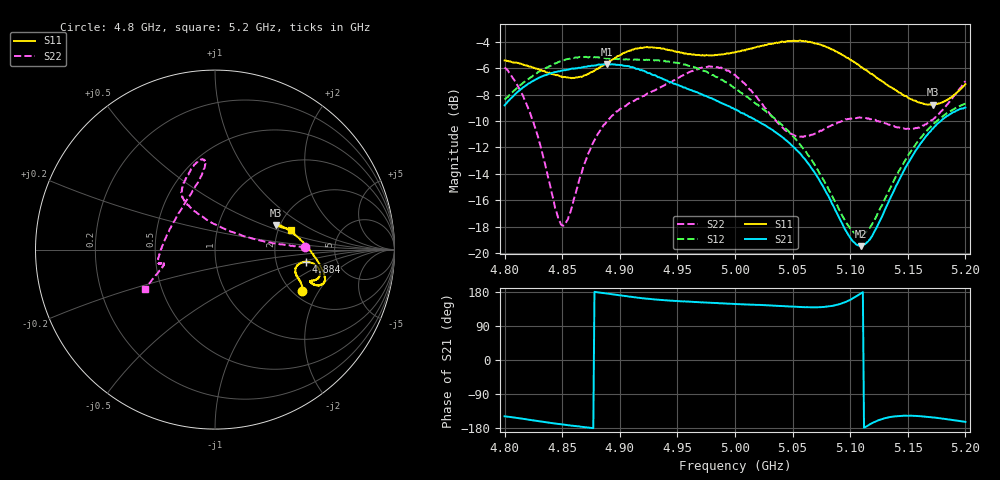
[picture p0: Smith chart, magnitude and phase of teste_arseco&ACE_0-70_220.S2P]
! Network Analyzer HP8722D
! Hewlett-Packard
! Data name: Linha & Wilkinson
! Saver's name: Rodrigo Anjos
! Comments: Teste da utilização de aquisição
! continua pelo VNA HP8722D
! Time and date: 8/5/2025 14:35
!  Frequency  S11  S21  S12  S22
# HZ  S  MA R 50
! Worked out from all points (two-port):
!   401 points, 4.8 GHz to 5.2 GHz, reference 50 ohm
!   highest |S21| = -5.69 dB at 4.889 GHz (marker M1); lowest = -19.5 dB at 5.109 GHz (marker M2)
!   |S21| within 3 dB of the highest: 4.801 GHz to 4.989 GHz (188.1 MHz wide, 3.84 % of centre)
!   lowest |S11| = -8.8 dB at 5.172 GHz (marker M3), VSWR 2.15, Z = 94.8 + j29.9 ohm
!   |S11| at or under -10 dB: nowhere
!   |S22| runs from -17.9 to -5.9 dB; largest |S21 - S12| = 1.1
!   S11 on the Smith chart (normalised r, x): 4.8 GHz: 2.25, -1.44; 4.884 GHz: 2.97, -0.55; 5.2 GHz: 2.33, +0.64
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4.8e9  0.5359 -25.2  0.3625 -148.6  0.3809 11.0  0.504 1.3
4.812e9  0.5242 -22.4  0.4099 -153.5  0.426 9.2  0.4247 2.7
4.823e9  0.5079 -20.4  0.444 -158.4  0.4634 7.5  0.3298 6.1
4.849e9  0.4666 -15.9  0.4899 -169.7  0.5327 3.2  0.1279 58.2
4.855e9  0.4618 -14.4  0.4945 -172.1  0.5419 2.3  0.1341 85.1
4.867e9  0.4644 -10.8  0.5047 -176.3  0.5516 0.7  0.2019 112.2
4.884e9  0.5107 -7.6  0.5169 177.6  0.5487 -0.7  0.2938 121.8
4.889e9  0.5242 -7.8  0.5195 175.5  0.5464 -0.6  0.3171 121.8
4.913e9  0.5927 -10.9  0.5016 165.5  0.5406 -0.1  0.3779 119.2
4.934e9  0.5976 -15.4  0.463 158.8  0.5364 -1.2  0.4204 113.2
4.971e9  0.5599 -18.2  0.3988 151.9  0.4938 -4.7  0.5034 100.8
4.986e9  0.5635 -18.9  0.3739 149.7  0.4599 -5.5  0.503 96.8
5e9  0.5756 -19.3  0.3495 147.8  0.4216 -5.1  0.4726 96.8
5.044e9  0.6315 -17.4  0.2677 141.8  0.2957 3.1  0.2906 131.2
5.067e9  0.6275 -13.2  0.2077 139.1  0.2233 9.5  0.2803 164.5
5.098e9  0.5482 -2.6  0.1178 156.0  0.1274 36.6  0.3217 -170.5
5.109e9  0.5069 2.3  0.1061 175.2  0.1171 58.3  0.3253 -167.1
5.119e9  0.4765 7.2  0.1158 -166.6  0.1284 77.8  0.3215 -166.2
5.134e9  0.4271 14.5  0.1582 -150.9  0.1734 94.8  0.306 -165.4
5.154e9  0.3804 20.7  0.2333 -147.3  0.2477 101.8  0.2945 -164.2
5.172e9  0.3645 22.0  0.2962 -151.6  0.3071 102.7  0.3205 -159.9
5.2e9  0.4357 14.8  0.3555 -163.3  0.3676 103.2  0.4473 -150.5
